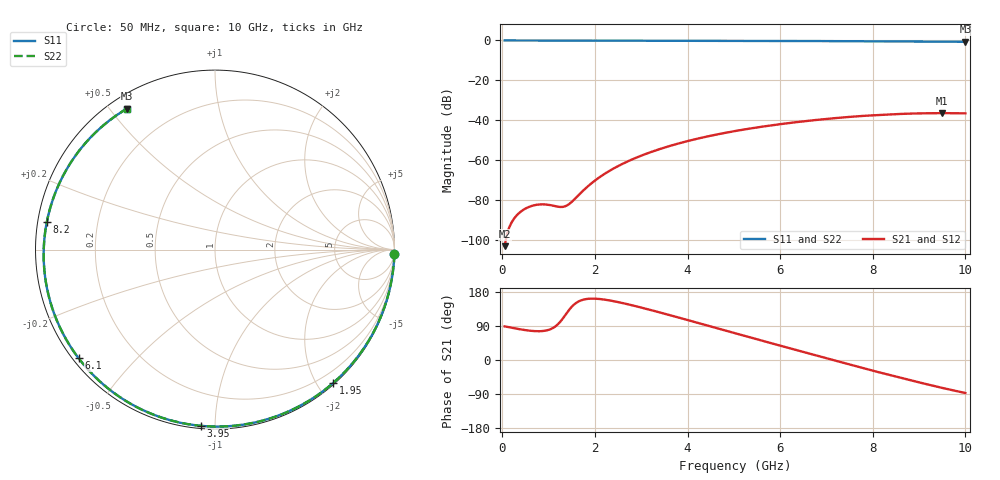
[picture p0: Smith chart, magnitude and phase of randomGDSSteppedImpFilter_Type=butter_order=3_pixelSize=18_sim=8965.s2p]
! freq	dB(S11)	phase(S11)	dB(S12)	phase(S12)
!  dB(S21)	phase(S21)	dB(S22)	phase(S22)
!S-par simulation data
#  GHz  S  DB  R 50
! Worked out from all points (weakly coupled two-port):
!   200 points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, 50 MHz to 10 GHz, reference 50 ohm
!   highest |S21| = -36.52 dB at 9.5 GHz (marker M1); lowest = -103.3 dB at 50 MHz (marker M2)
!   lowest |S11| = -0.7 dB at 10 GHz (marker M3), VSWR 26.09, Z = 2.5 + j27.7 ohm
!   |S11| at or under -10 dB: nowhere
!   |S22| runs from -0.7 to 0.0 dB; largest |S21 - S12| = 0
!   S11 on the Smith chart (normalised r, x): 50 MHz: 0, -90; 1.95 GHz: 0.02, -2.22; 3.95 GHz: 0.01, -0.92; 6.1 GHz: 0.02, -0.35; 8.2 GHz: 0.03, +0.08; 10 GHz: 0.05, +0.55
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0.05  -0.00 -1.3  -103.33 88.8  -103.33 88.8  -0.00 -1.3
0.4  -0.01 -10.1  -85.96 80.7  -85.96 80.7  -0.01 -10.1
0.8  -0.03 -20.2  -82.38 76.0  -82.38 76.0  -0.03 -20.2
1.55  -0.05 -38.7  -79.97 146.4  -79.97 146.4  -0.05 -38.8
1.75  -0.06 -43.6  -75.35 159.3  -75.35 159.3  -0.06 -43.6
1.95  -0.06 -48.5  -71.29 162.0  -71.29 162.0  -0.06 -48.5
2.25  -0.07 -55.6  -66.40 158.6  -66.40 158.6  -0.07 -55.6
2.6  -0.08 -63.9  -61.94 150.2  -61.94 150.2  -0.08 -63.9
3  -0.10 -73.2  -57.87 138.4  -57.87 138.4  -0.10 -73.2
3.4  -0.11 -82.3  -54.56 125.6  -54.56 125.6  -0.11 -82.3
3.95  -0.13 -94.7  -50.85 107.2  -50.85 107.2  -0.13 -94.7
4.5  -0.15 -106.8  -47.86 88.5  -47.86 88.5  -0.15 -106.8
5.05  -0.18 -118.7  -45.40 69.9  -45.40 69.9  -0.18 -118.7
5.55  -0.21 -129.5  -43.52 53.0  -43.52 53.0  -0.21 -129.5
6.1  -0.25 -141.4  -41.76 34.5  -41.76 34.5  -0.25 -141.4
6.7  -0.30 -154.6  -40.13 14.6  -40.13 14.6  -0.30 -154.6
7.45  -0.37 -171.5  -38.48 -10.2  -38.48 -10.2  -0.37 -171.5
8.2  -0.45 170.7  -37.40 -34.4  -37.40 -34.4  -0.45 170.7
8.35  -0.47 167.0  -37.20 -38.8  -37.20 -38.8  -0.47 167.0
8.95  -0.54 151.6  -36.66 -57.5  -36.66 -57.5  -0.54 151.5
9.5  -0.61 136.5  -36.52 -73.6  -36.52 -73.6  -0.61 136.5
10  -0.67 122.0  -36.62 -87.1  -36.62 -87.1  -0.67 122.0
